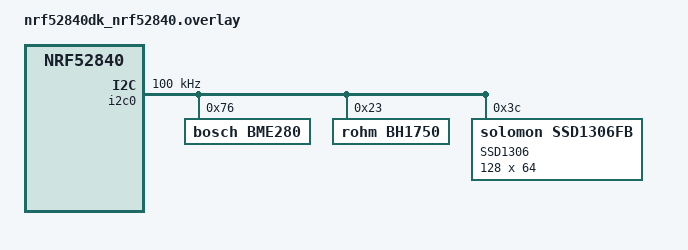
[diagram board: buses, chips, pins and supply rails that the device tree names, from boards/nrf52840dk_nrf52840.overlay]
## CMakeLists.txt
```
cmake_minimum_required(VERSION 3.20.0)
find_package(Zephyr REQUIRED HINTS $ENV{ZEPHYR_BASE})

project(WeatherStationWithBLE)

target_sources(app PRIVATE src/main.c)
```

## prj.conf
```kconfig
CONFIG_MAIN_STACK_SIZE=2048
CONFIG_I2C=y
CONFIG_DISPLAY=y
CONFIG_SSD1306=y
CONFIG_BH1750=y
CONFIG_LOG=y
CONFIG_DISPLAY_LOG_LEVEL_DBG=y
CONFIG_I2C_INIT_PRIORITY=60
CONFIG_BME280=y
CONFIG_SENSOR=y
CONFIG_LOG_PRINTK=y
CONFIG_CBPRINTF_FP_SUPPORT=y
```

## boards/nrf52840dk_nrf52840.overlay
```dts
&i2c0 {
    status = "okay";
    clock-frequency = <I2C_BITRATE_STANDARD>;

    bme280@76 {
        compatible = "bosch,bme280";
        reg = <0x76>;
        label = "BME280";
    };

    bh1750@23 {
        compatible = "rohm,bh1750";
        reg = <0x23>;
        label = "BH1750";
    };

    ssd1306@3c {
        compatible = "solomon,ssd1306fb";
        reg = <0x3c>;
        label = "SSD1306";
        height = <64>;
        width = <128>;
        segment-offset = <0>;
        page-offset = <0>;
        display-offset = <0>;
        multiplex-ratio = <63>;
        prechargep = <0xD1>;
        segment-remap;
        com-invdir;
        com-sequential;
    };
};
```

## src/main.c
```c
#include <zephyr/kernel.h>
#include <zephyr/device.h>
#include <zephyr/drivers/display.h>
#include <zephyr/drivers/sensor.h>
#include <zephyr/logging/log.h>
#include <zephyr/bluetooth/bluetooth.h>
#include <zephyr/bluetooth/conn.h>
#include <zephyr/bluetooth/gatt.h>
#include <bluetooth/services/nus.h>
#include <stdio.h>
#include <string.h>

LOG_MODULE_REGISTER(main);

#define DISPLAY_WIDTH 128
#define DISPLAY_HEIGHT 64
#define FRAMEBUFFER_SIZE (DISPLAY_WIDTH * DISPLAY_HEIGHT / 8)

static const struct device *display;
static const struct device *bme280;
static const struct device *bh1750;

static uint8_t framebuffer[FRAMEBUFFER_SIZE];

static struct display_buffer_descriptor buf_desc = {
    .buf_size = sizeof(framebuffer),
    .width = DISPLAY_WIDTH,
    .height = DISPLAY_HEIGHT,
    .pitch = DISPLAY_WIDTH,
};

static bool nus_ready = false;
static struct bt_conn *current_conn = NULL;

static const uint8_t font_5x7[][5] = {
    [0] = {0x3E, 0x51, 0x49, 0x45, 0x3E},
    [1] = {0x00, 0x42, 0x7F, 0x40, 0x00},
    [2] = {0x62, 0x51, 0x49, 0x49, 0x46},
    [3] = {0x22, 0x49, 0x49, 0x49, 0x36},
    [4] = {0x18, 0x14, 0x12, 0x7F, 0x10},
    [5] = {0x2F, 0x49, 0x49, 0x49, 0x31},
    [6] = {0x3E, 0x49, 0x49, 0x49, 0x32},
    [7] = {0x01, 0x71, 0x09, 0x05, 0x03},
    [8] = {0x36, 0x49, 0x49, 0x49, 0x36},
    [9] = {0x26, 0x49, 0x49, 0x49, 0x3E},
    ['.'] = {0x00, 0x60, 0x60, 0x00, 0x00},
    ['C'] = {0x3C, 0x42, 0x42, 0x42, 0x24},
    ['%'] = {0x62, 0x64, 0x08, 0x13, 0x23},
    ['T'] = {0x01, 0x01, 0x7F, 0x01, 0x01},
    ['H'] = {0x7F, 0x08, 0x08, 0x08, 0x7F},
    ['L'] = {0x7F, 0x40, 0x40, 0x40, 0x40},
    ['x'] = {0x41, 0x36, 0x08, 0x36, 0x41},
    [':'] = {0x00, 0x36, 0x36, 0x00, 0x00},
};

void set_pixel(int x, int y)
{
        if (x < 0 || x >= DISPLAY_WIDTH || y < 0 || y >= DISPLAY_HEIGHT)
                return;
        framebuffer[(y / 8) * DISPLAY_WIDTH + x] |= (1 << (y % 8));
}

void draw_char(char c, int x, int y, int scale)
{
        const uint8_t *glyph = NULL;
        if (c >= '0' && c <= '9')
                glyph = font_5x7[c - '0'];
        else if ((int)c >= 0 && (int)c < sizeof(font_5x7) / sizeof(font_5x7[0]))
                glyph = font_5x7[(int)c];
        if (!glyph)
                return;

        for (int col = 0; col < 5; col++)
        {
                for (int row = 0; row < 7; row++)
                {
                        if (glyph[col] & (1 << row))
                        {
                                for (int dx = 0; dx < scale; dx++)
                                {
                                        for (int dy = 0; dy < scale; dy++)
                                        {
                                                set_pixel(x + col * scale + dx, y + row * scale + dy);
                                        }
                                }
                        }
                }
        }
}

void draw_text_line(const char *text, int x, int y, int scale)
{
        while (*text && x < DISPLAY_WIDTH - 5 * scale)
        {
                draw_char(*text++, x, y, scale);
                x += 6 * scale;
        }
}

void read_and_display_sensor(void)
{
        struct sensor_value temp, humidity, illuminance;
        bool temp_ok = sensor_sample_fetch(bme280) == 0 &&
                       sensor_channel_get(bme280, SENSOR_CHAN_AMBIENT_TEMP, &temp) == 0 &&
                       sensor_channel_get(bme280, SENSOR_CHAN_HUMIDITY, &humidity) == 0;
        bool light_ok = sensor_sample_fetch(bh1750) == 0 &&
                        sensor_channel_get(bh1750, SENSOR_CHAN_LIGHT, &illuminance) == 0;

        memset(framebuffer, 0, sizeof(framebuffer));
        int y = 0;
        int scale = 1;
        int line_height = scale * 8 + 2;

        float t = 0.0, h = 0.0, lux = 0.0;
        char msg[64] = {0};

        if (temp_ok)
        {
                t = temp.val1 + temp.val2 / 1000000.0f;
                h = humidity.val1 + humidity.val2 / 1000000.0f;
                char t_line[20], h_line[20];
                snprintf(t_line, sizeof(t_line), "T:%.2fC", (double)t);
                snprintf(h_line, sizeof(h_line), "H:%.2f%%", (double)h);
                draw_text_line(t_line, 0, y, scale);
                y += line_height;
                draw_text_line(h_line, 0, y, scale);
                y += line_height;
        }

        if (light_ok)
        {
                lux = illuminance.val1 + illuminance.val2 / 1000000.0f;
                char l_line[20];
                snprintf(l_line, sizeof(l_line), "L:%.2flx", (double)lux);
                draw_text_line(l_line, 0, y, scale);
                y += line_height;
        }

        display_write(display, 0, 0, &buf_desc, framebuffer);

        if (nus_ready && current_conn)
        {
                snprintf(msg, sizeof(msg), "%.2f,%.2f,%.2f\n", t, h, lux);
                int err = bt_nus_send(current_conn, msg, strlen(msg));
                if (err)
                {
                        LOG_ERR("bt_nus_send failed: %d", err);
                }
                else
                {
                        LOG_INF("Sent NUS data");
                }
        }
}

void nus_sent_cb(struct bt_conn *conn)
{
        nus_ready = true;
        LOG_INF("NUS notifications enabled");
}

void nus_received_cb(struct bt_conn *conn, const uint8_t *data, uint16_t len)
{
        LOG_INF("Received: %.*s", len, data);
}

static struct bt_nus_cb nus_callbacks = {
    .received = nus_received_cb,
    .sent = nus_sent_cb,
};

static void connected(struct bt_conn *conn, uint8_t err)
{
        if (err)
        {
                LOG_ERR("Connection failed (err %u)", err);
                return;
        }
        current_conn = bt_conn_ref(conn);
        nus_ready = true;
        LOG_INF("Central connected");
}

static void disconnected(struct bt_conn *conn, uint8_t reason)
{
        LOG_INF("Central disconnected (reason %u)", reason);
        if (current_conn)
        {
                bt_conn_unref(current_conn);
                current_conn = NULL;
                nus_ready = false;
        }
}

BT_CONN_CB_DEFINE(conn_callbacks) = {
    .connected = connected,
    .disconnected = disconnected,
};

void bt_ready(int err)
{
        if (err)
        {
                LOG_ERR("Bluetooth init failed (err %d)", err);
                return;
        }

        LOG_INF("Bluetooth initialized");

        err = bt_nus_init(&nus_callbacks);
        if (err)
        {
                LOG_ERR("NUS init failed (err %d)", err);
                return;
        }

        static const struct bt_le_adv_param adv_params =
            BT_LE_ADV_PARAM_INIT(BT_LE_ADV_OPT_CONNECTABLE,
                                 BT_GAP_ADV_FAST_INT_MIN_2,
                                 BT_GAP_ADV_FAST_INT_MAX_2,
                                 NULL);

        err = bt_le_adv_start(&adv_params, NULL, 0, NULL, 0);
        if (err)
        {
                LOG_ERR("Advertising failed to start (err %d)", err);
                return;
        }

        LOG_INF("Bluetooth advertising started");
}

void main(void)
{
        display = DEVICE_DT_GET_ANY(solomon_ssd1306fb);
        bme280 = DEVICE_DT_GET_ANY(bosch_bme280);
        bh1750 = DEVICE_DT_GET_ANY(rohm_bh1750);

        if (!device_is_ready(display))
        {
                LOG_ERR("Display not ready");
                return;
        }
        if (!device_is_ready(bme280))
        {
                LOG_ERR("BME280 not ready");
                return;
        }
        if (!device_is_ready(bh1750))
        {
                LOG_ERR("BH1750 not ready");
                return;
        }

        display_blanking_off(display);
        display_set_contrast(display, 0xFF);

        int err = bt_enable(bt_ready);
        if (err)
        {
                LOG_ERR("Bluetooth enable failed (err %d)", err);
                return;
        }

        while (1)
        {
                read_and_display_sensor();
                k_sleep(K_SECONDS(2));
        }
}
```
